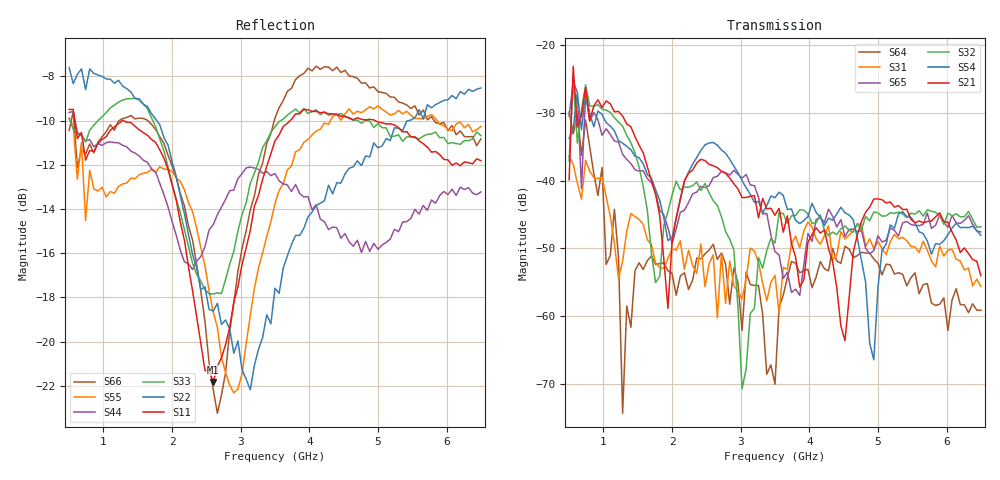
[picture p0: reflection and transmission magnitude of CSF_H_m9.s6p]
!Keysight Technologies,M9804A,MY58100912,A.14.10.03
!Date: Thursday, April 27, 2023 10:28:33
!Correction: S11(C  6-Port  )
!S12(C  6-Port  )
!S13(C  6-Port  )
!S14(C  6-Port  )
!S15(C  6-Port  )
!S16(C  6-Port  )
!S21(C  6-Port  )
!S22(C  6-Port  )
!S23(C  6-Port  )
!S24(C  6-Port  )
!S25(C  6-Port  )
!S26(C  6-Port  )
!S31(C  6-Port  )
!S32(C  6-Port  )
!S33(C  6-Port  )
!S34(C  6-Port  )
!S35(C  6-Port  )
!S36(C  6-Port  )
!S41(C  6-Port  )
!S42(C  6-Port  )
!S43(C  6-Port  )
!S44(C  6-Port  )
!S45(C  6-Port  )
!S46(C  6-Port  )
!S51(C  6-Port  )
!S52(C  6-Port  )
!S53(C  6-Port  )
!S54(C  6-Port  )
!S55(C  6-Port  )
!S56(C  6-Port  )
!S61(C  6-Port  )
!S62(C  6-Port  )
!S63(C  6-Port  )
!S64(C  6-Port  )
!S65(C  6-Port  )
!S66(C  6-Port  )
!S6P File: Measurement: :
# Hz S  RI  R 50
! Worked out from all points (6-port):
!   101 points, 500 MHz to 6.5 GHz, reference 50 ohm
!   strongest paths, dB at 500 MHz, 2 GHz, 3.5 GHz, 5 GHz, 6.5 GHz:
!     S21: -39.9, -49.1, -45.1, -42.7, -54.0
!     S54: -33.7, -48.4, -42.5, -55.8, -48.1
!     S32: -37.1, -42.1, -49.2, -44.8, -46.8
!     S65: -30.4, -49.3, -50.5, -48.1, -47.6
!     S31: -36.4, -50.1, -54.0, -49.0, -55.6
!     S64: -29.9, -53.7, -70.0, -52.2, -59.1
!   lowest |S11| = -21.8 dB at 2.6 GHz (marker M1), VSWR 1.18, Z = 42.7 + j1.9 ohm
!   |S11| at or under -10 dB: 583.2 MHz to 1.274 GHz (690.7 MHz wide, 74.4 % of centre); 1.29 GHz to 3.721 GHz (2.43 GHz wide, 97 % of centre); 4.96 GHz to end of sweep
